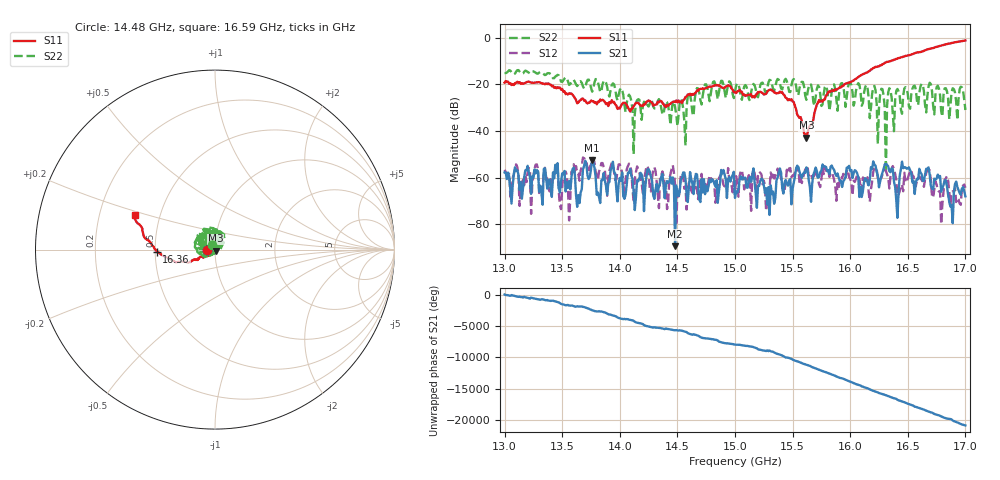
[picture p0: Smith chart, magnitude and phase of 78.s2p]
!Keysight Technologies,P9374A,MY57211807,A.19.30.04
!Date: Friday, May 01, 2026 14:24:58
!Correction: S11(C  2-Port  )
!S21(C  2-Port  )
!S12(C  2-Port  )
!S22(C  2-Port  )
!S2P File: Measurements: S11, S21, S12, S22:
# Hz S  RI  R 50
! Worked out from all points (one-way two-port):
!   401 points, 13 GHz to 17 GHz, reference 50 ohm
!   highest |S21| = -52.48 dB at 13.76 GHz (marker M1); lowest = -89.4 dB at 14.48 GHz (marker M2)
!   lowest |S11| = -42.9 dB at 15.62 GHz (marker M3), VSWR 1.01, Z = 50.4 - j0.599 ohm
!   |S11| at or under -10 dB: start of sweep to 16.35 GHz
!   |S22| runs from -57.6 to -13.9 dB; largest |S21 - S12| = 0.0015
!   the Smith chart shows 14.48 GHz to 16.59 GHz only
!   S11 on the Smith chart (normalised r, x): 14.48 GHz: 0.92, -0.00; 16.36 GHz: 0.51, -0.01; 16.59 GHz: 0.36, +0.18
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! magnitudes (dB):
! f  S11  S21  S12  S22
! 13 GHz  -19.3  -57.7  -56.6  -15.1
! 13.44 GHz  -21.2  -54.5  -58.1  -16.7
! 13.49 GHz  -22.2  -61.8  -73.5  -18.8
! 13.67 GHz  -26.2  -64.9  -55.1  -19.3
! 13.76 GHz  -27.2  -52.5  -52.6  -23.1
! 13.82 GHz  -27.6  -68.5  -57.3  -21.0
! 13.94 GHz  -27.7  -53.2  -54.0  -19.6
! 14.12 GHz  -29.3  -66.0  -70.1  -49.9
! 14.34 GHz  -27.6  -63.7  -73.1  -26.3
! 14.48 GHz  -27.5  -89.4  -63.0  -29.8
! 15 GHz  -23.3  -68.7  -67.4  -23.2
! 15.41 GHz  -23.4  -64.5  -63.3  -22.2
! 15.62 GHz  -42.9  -55.6  -55.3  -26.6
! 15.67 GHz  -37.1  -62.5  -60.2  -22.5
! 16.07 GHz  -16.9  -59.8  -59.4  -19.5
! 16.31 GHz  -10.6  -54.0  -57.1  -57.6
! 16.34 GHz  -10.1  -57.3  -64.7  -21.7
! 16.36 GHz  -9.8  -56.0  -56.0  -25.7
! 16.4 GHz  -9.0  -69.6  -60.9  -22.7
! 16.46 GHz  -8.1  -55.9  -65.9  -24.8
! 16.59 GHz  -6.3  -60.7  -60.3  -28.9
! 17 GHz  -1.2  -68.0  -64.3  -31.0
